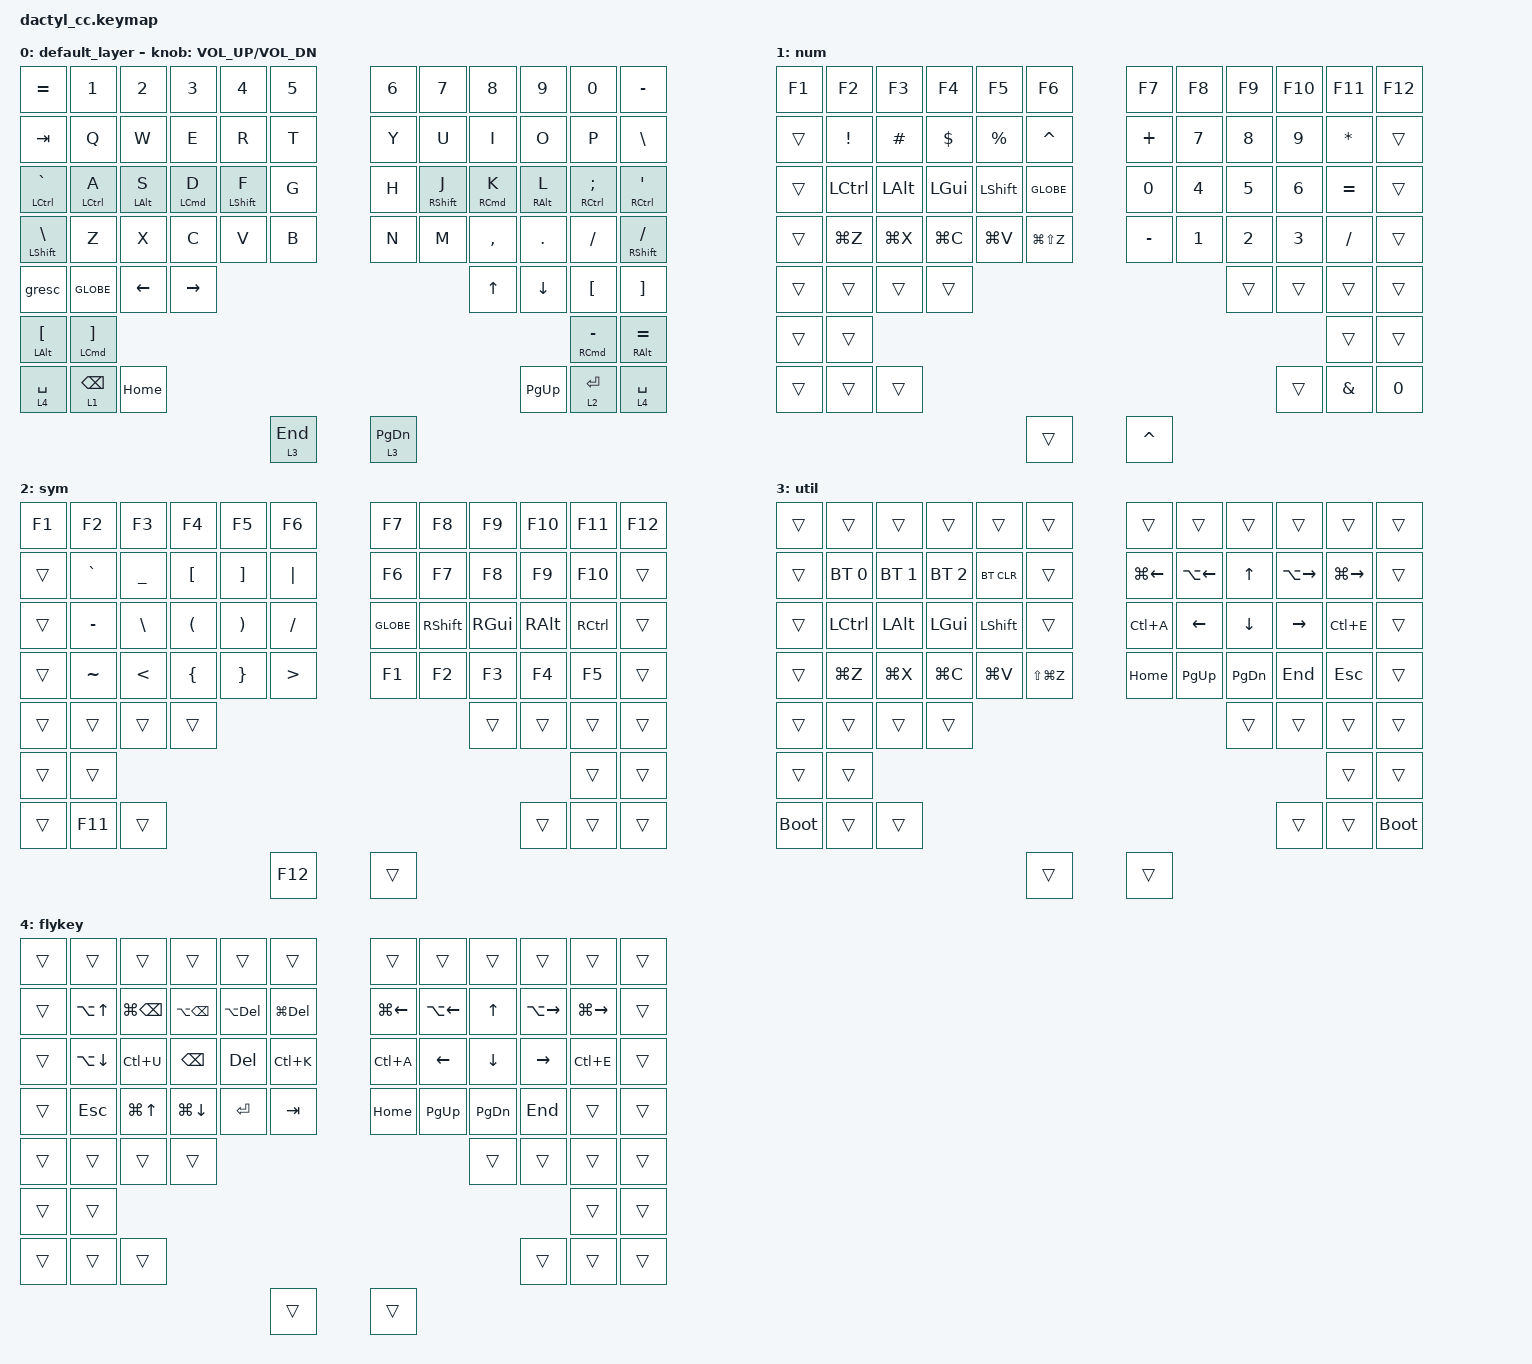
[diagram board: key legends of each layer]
/*
 * Copyright (c) 2020 The ZMK Contributors
 *
 * SPDX-License-Identifier: MIT
 */

#include <behaviors.dtsi>
#include <dt-bindings/zmk/bt.h>
#include <dt-bindings/zmk/keys.h>

/ {
    combos {
        compatible = "zmk,combos";

        tab {
            bindings = <&kp TAB>;
            key-positions = <13 14>;
            require-prior-idle-ms = <120>;
        };

        stab {
            bindings = <&kp LS(TAB)>;
            key-positions = <13 15>;
            require-prior-idle-ms = <120>;
        };

        enter {
            bindings = <&kp ENTER>;
            key-positions = <33 34 31 32>;
            require-prior-idle-ms = <120>;
        };

        bs {
            bindings = <&kp BACKSPACE>;
            key-positions = <44 43>;
            require-prior-idle-ms = <120>;
        };

        del {
            bindings = <&kp DELETE>;
            key-positions = <44 45>;
            require-prior-idle-ms = <120>;
        };

        stab2 {
            bindings = <&kp LS(TAB)>;
            key-positions = <14 15>;
            require-prior-idle-ms = <120>;
        };

        copy {
            bindings = <&kp LG(C)>;
            key-positions = <38 39>;
            require-prior-idle-ms = <120>;
        };

        paste {
            bindings = <&kp LG(V)>;
            key-positions = <39 40>;
            require-prior-idle-ms = <120>;
        };

        cut {
            bindings = <&kp LG(X)>;
            key-positions = <37 38>;
            require-prior-idle-ms = <120>;
        };

        undo {
            bindings = <&kp LG(Z)>;
            key-positions = <37 38 39>;
            require-prior-idle-ms = <120>;
        };

        redo {
            bindings = <&kp LG(LS(Z))>;
            key-positions = <37 39 38 41>;
            require-prior-idle-ms = <120>;
        };

        esc {
            bindings = <&kp ESCAPE>;
            key-positions = <26 28>;
            require-prior-idle-ms = <120>;
        };

        up {
            bindings = <&kp UP>;
            key-positions = <19 21>;
            require-prior-idle-ms = <120>;
        };

        down {
            bindings = <&kp DOWN>;
            key-positions = <31 33>;
            require-prior-idle-ms = <120>;
        };

        pg_up {
            bindings = <&kp PAGE_UP>;
            key-positions = <19 20 21>;
            require-prior-idle-ms = <120>;
        };

        pg_dn {
            bindings = <&kp PAGE_DOWN>;
            key-positions = <31 32 33>;
            require-prior-idle-ms = <120>;
        };

        aleft {
            bindings = <&kp LA(LEFT)>;
            key-positions = <31 32>;
            require-prior-idle-ms = <120>;
        };

        aright {
            bindings = <&kp LA(RIGHT)>;
            key-positions = <32 33>;
            require-prior-idle-ms = <120>;
        };

        left {
            bindings = <&kp LEFT>;
            key-positions = <32 30>;
            require-prior-idle-ms = <120>;
        };

        right {
            bindings = <&kp RIGHT>;
            key-positions = <30 33>;
            require-prior-idle-ms = <120>;
        };

        ca {
            bindings = <&kp LC(A)>;
            key-positions = <30 32 33>;
            require-prior-idle-ms = <120>;
        };

        ce {
            bindings = <&kp LC(E)>;
            key-positions = <32 33 34>;
            require-prior-idle-ms = <120>;
        };

        home {
            bindings = <&kp HOME>;
            key-positions = <18 20 21>;
            require-prior-idle-ms = <120>;
        };

        end {
            bindings = <&kp END>;
            key-positions = <20 21 22>;
            require-prior-idle-ms = <120>;
        };

        back {
            bindings = <&kp LG(LEFT_BRACKET)>;
            key-positions = <20 19>;
            require-prior-idle-ms = <120>;
        };

        fwd {
            bindings = <&kp LG(RIGHT_BRACKET)>;
            key-positions = <20 21>;
            require-prior-idle-ms = <120>;
        };
    };

    behaviors {
        hml: homerow_mods_left {
            compatible = "zmk,behavior-hold-tap";
            label = "HOMEROW_MODS_LEFT";
            bindings = <&kp>, <&kp>;

            #binding-cells = <2>;
            tapping-term-ms = <180>;
            flavor = "tap-preferred";
        };

        hmr: homerow_mods_right {
            compatible = "zmk,behavior-hold-tap";
            label = "HOMEROW_MODS_RIGHT";
            bindings = <&kp>, <&kp>;

            #binding-cells = <2>;
            tapping-term-ms = <180>;
            flavor = "tap-preferred";
        };
    };

    keymap {
        compatible = "zmk,keymap";

        default_layer {
            // ------------------------------------------------------------------------------------------------------------
            // |  ESC   |  1  |  2  |  3   |  4   |  5   |                    |  6   |  7    |  8    |  9   |   0   |   `   |
            // |  TAB   |  Q  |  W  |  E   |  R   |  T   |                    |  Y   |  U    |  I    |  O   |   P   |   -   |
            // |  CTRL  |  A  |  S  |  D   |  F   |  G   |                    |  H   |  J    |  K    |  L   |   ;   |   '   |
            // | SHIFT  |  Z  |  X  |  C   |  V   |  B   |                    |  N   |  M    |  ,    |  .   |   /   | SHIFT |
            // |    2   |  2  | f   | 6    | 4    | 1    |                    | 2    | 1     | w     | s    | n     |  a    |

            bindings = <
&kp EQUAL                  &kp N1                          &kp N2           &kp N3                   &kp N4               &kp N5                              &kp N6       &kp N7              &kp N8                &kp N9            &kp N0                        &kp MINUS
&kp TAB                    &kp Q                           &kp W            &kp E                    &kp R                &kp T                               &kp Y        &kp U               &kp I                 &kp O             &kp P                         &kp BSLH
&mt LCTRL GRAVE            &hml LEFT_CONTROL A             &hml LEFT_ALT S  &hml LCMD D              &hml LEFT_SHIFT F    &kp G                               &kp H        &hmr RIGHT_SHIFT J  &hmr RIGHT_COMMAND K  &hmr RIGHT_ALT L  &hmr RIGHT_CONTROL SEMICOLON  &mt RIGHT_CONTROL SINGLE_QUOTE
&mt LEFT_SHIFT BACKSLASH   &kp Z                           &kp X            &kp C                    &kp V                &kp B                               &kp N        &kp M               &kp COMMA             &kp DOT           &kp FSLH                      &mt RIGHT_SHIFT SLASH
&gresc                     &kp GLOBE                       &kp LEFT         &kp RIGHT                                               &kp UP                    &kp DOWN     &kp LBKT            &kp RBKT
&mt LEFT_ALT LEFT_BRACKET  &mt LEFT_COMMAND RIGHT_BRACKET                   &mt RIGHT_COMMAND MINUS  &mt RIGHT_ALT EQUAL
                                                                            &lt 4 SPACE              &lt 1 BACKSPACE      &kp HOME  &kp PAGE_UP  &lt 2 ENTER  &lt 4 SPACE
                           &lt 3 END                       &lt 3 PAGE_DOWN
            >;

            sensor-bindings = <&inc_dec_kp C_VOL_UP C_VOL_DN>;
        };

        num {
            bindings = <
&kp F1  &kp F2           &kp F3     &kp F4      &kp F5       &kp F6                                &kp F7        &kp F8  &kp F9  &kp F10  &kp F11    &kp F12
&trans  &kp EXCLAMATION  &kp HASH   &kp DOLLAR  &kp PERCENT  &kp CARET                             &kp PLUS      &kp N7  &kp N8  &kp N9   &kp STAR   &trans
&trans  &kp LCTRL        &kp LALT   &kp LGUI    &kp LSHFT    &kp GLOBE                             &kp N0        &kp N4  &kp N5  &kp N6   &kp EQUAL  &trans
&trans  &kp LG(Z)        &kp LG(X)  &kp LG(C)   &kp LG(V)    &kp LG(LS(Z))                         &kp MINUS     &kp N1  &kp N2  &kp N3   &kp FSLH   &trans
&trans  &trans           &trans     &trans                                  &trans                 &trans        &trans  &trans
&trans  &trans                      &trans      &trans
                                    &trans      &trans       &trans         &trans  &kp AMPERSAND  &kp NUMBER_0
        &trans           &kp CARET
            >;
        };

        sym {
            bindings = <
&kp F1  &kp F2     &kp F3         &kp F4                &kp F5                 &kp F6                            &kp F7     &kp F8           &kp F9         &kp F10        &kp F11            &kp F12
&trans  &kp GRAVE  &kp UNDER      &kp LBKT              &kp RBKT               &kp PIPE                          &kp F6     &kp F7           &kp F8         &kp F9         &kp F10            &trans
&trans  &kp MINUS  &kp BACKSLASH  &kp LEFT_PARENTHESIS  &kp RIGHT_PARENTHESIS  &kp SLASH                         &kp GLOBE  &kp RIGHT_SHIFT  &kp RIGHT_GUI  &kp RIGHT_ALT  &kp RIGHT_CONTROL  &trans
&trans  &kp TILDE  &kp LESS_THAN  &kp LEFT_BRACE        &kp RBRC               &kp GREATER_THAN                  &kp F1     &kp F2           &kp F3         &kp F4         &kp F5             &trans
&trans  &trans     &trans         &trans                                                         &trans          &trans     &trans           &trans
&trans  &trans                    &trans                &trans
                                  &trans                &kp F11                &trans            &trans  &trans  &trans
        &kp F12    &trans
            >;
        };

        util {
            bindings = <
&trans  &trans        &trans        &trans        &trans      &trans                         &trans              &trans              &trans         &trans         &trans         &trans
&trans  &bt BT_SEL 0  &bt BT_SEL 1  &bt BT_SEL 2  &bt BT_CLR  &trans                         &kp LG(LEFT_ARROW)  &kp LA(LEFT_ARROW)  &kp UP         &kp LA(RIGHT)  &kp LG(RIGHT)  &trans
&trans  &kp LCTRL     &kp LALT      &kp LGUI      &kp LSHFT   &trans                         &kp LC(A)           &kp LEFT            &kp DOWN       &kp RIGHT      &kp LC(E)      &trans
&trans  &kp LG(Z)     &kp LG(X)     &kp LG(C)     &kp LG(V)   &kp LS(LG(Z))                  &kp HOME            &kp PAGE_UP         &kp PAGE_DOWN  &kp END        &kp ESC        &trans
&trans  &trans        &trans        &trans                                   &trans          &trans              &trans              &trans
&trans  &trans                      &trans        &trans
                                    &bootloader   &trans      &trans         &trans  &trans  &bootloader
        &trans        &trans
            >;
        };

        flykey {
            bindings = <
&trans  &trans        &trans        &trans        &trans       &trans                          &trans        &trans        &trans     &trans         &trans         &trans
&trans  &kp LA(UP)    &kp LG(BSPC)  &kp LA(BSPC)  &kp LA(DEL)  &kp LG(DELETE)                  &kp LG(LEFT)  &kp LA(LEFT)  &kp UP     &kp LA(RIGHT)  &kp LG(RIGHT)  &trans
&trans  &kp LA(DOWN)  &kp LC(U)     &kp BSPC      &kp DEL      &kp LC(K)                       &kp LC(A)     &kp LEFT      &kp DOWN   &kp RIGHT      &kp LC(E)      &trans
&trans  &kp ESC       &kp LG(UP)    &kp LG(DOWN)  &kp RET      &kp TAB                         &kp HOME      &kp PG_UP     &kp PG_DN  &kp END        &trans         &trans
&trans  &trans        &trans        &trans                                     &trans          &trans        &trans        &trans
&trans  &trans                      &trans        &trans
                                    &trans        &trans       &trans          &trans  &trans  &trans
        &trans        &trans
            >;
        };
    };
};
